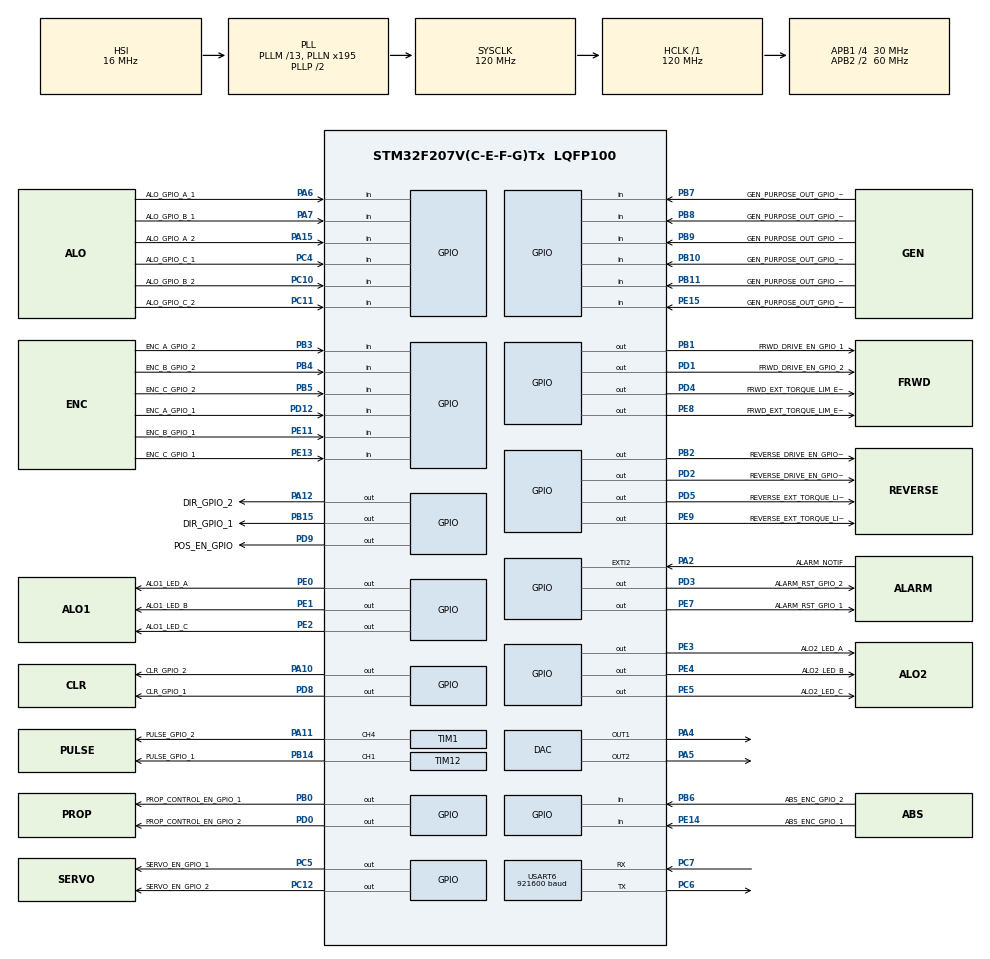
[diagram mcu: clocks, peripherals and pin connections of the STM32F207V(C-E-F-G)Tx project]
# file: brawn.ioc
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Mcu.Family=STM32F2
Mcu.Name=STM32F207V(C-E-F-G)Tx
Mcu.Package=LQFP100
NVIC.EXTI2_IRQn=true\:0\:0\:false\:false\:true\:true\:true\:true
NVIC.PriorityGroup=NVIC_PRIORITYGROUP_4
NVIC.USART6_IRQn=true\:0\:0\:false\:false\:true\:true\:true\:true
PA10.GPIO_Label=CLR_GPIO_2
PA10.Signal=GPIO_Output
PA11.GPIO_Label=PULSE_GPIO_2
PA11.Signal=S_TIM1_CH4
PA12.GPIO_Label=DIR_GPIO_2
PA12.Signal=GPIO_Output
PA13.Mode=Serial_Wire
PA13.Signal=SYS_JTMS-SWDIO
PA14.Mode=Serial_Wire
PA14.Signal=SYS_JTCK-SWCLK
PA15.GPIO_Label=ALO_GPIO_A_2
PA15.Signal=GPIO_Input
PA2.GPIO_Label=ALARM_NOTIF
PA2.Signal=GPXTI2
PA4.Signal=COMP_DAC1_group
PA5.Signal=COMP_DAC2_group
PA6.GPIO_Label=ALO_GPIO_A_1
PA6.Signal=GPIO_Input
PA7.GPIO_Label=ALO_GPIO_B_1
PA7.Signal=GPIO_Input
PB0.GPIO_Label=PROP_CONTROL_EN_GPIO_1
PB0.Signal=GPIO_Output
PB1.GPIO_Label=FRWD_DRIVE_EN_GPIO_1
PB1.Signal=GPIO_Output
PB10.GPIO_Label=GEN_PURPOSE_OUT_GPIO_B_1
PB10.Signal=GPIO_Input
PB11.GPIO_Label=GEN_PURPOSE_OUT_GPIO_C_1
PB11.Signal=GPIO_Input
PB14.GPIO_Label=PULSE_GPIO_1
PB14.Signal=S_TIM12_CH1
PB15.GPIO_Label=DIR_GPIO_1
PB15.Signal=GPIO_Output
PB2.GPIO_Label=REVERSE_DRIVE_EN_GPIO_1
PB2.Signal=GPIO_Output
PB3.GPIO_Label=ENC_A_GPIO_2
PB3.Signal=GPIO_Input
PB4.GPIO_Label=ENC_B_GPIO_2
PB4.Signal=GPIO_Input
PB5.GPIO_Label=ENC_C_GPIO_2
PB5.Signal=GPIO_Input
PB6.GPIO_Label=ABS_ENC_GPIO_2
PB6.Signal=GPIO_Input
PB7.GPIO_Label=GEN_PURPOSE_OUT_GPIO_A_2
PB7.Signal=GPIO_Input
PB8.GPIO_Label=GEN_PURPOSE_OUT_GPIO_B_2
PB8.Signal=GPIO_Input
PB9.GPIO_Label=GEN_PURPOSE_OUT_GPIO_C_2
PB9.Signal=GPIO_Input
PC10.GPIO_Label=ALO_GPIO_B_2
PC10.Signal=GPIO_Input
PC11.GPIO_Label=ALO_GPIO_C_2
PC11.Signal=GPIO_Input
PC12.GPIO_Label=SERVO_EN_GPIO_2
PC12.Signal=GPIO_Output
PC4.GPIO_Label=ALO_GPIO_C_1
PC4.Signal=GPIO_Input
PC5.GPIO_Label=SERVO_EN_GPIO_1
PC5.Signal=GPIO_Output
PC6.Mode=Asynchronous
PC6.Signal=USART6_TX
PC7.Mode=Asynchronous
PC7.Signal=USART6_RX
PD0.GPIO_Label=PROP_CONTROL_EN_GPIO_2
PD0.Signal=GPIO_Output
PD1.GPIO_Label=FRWD_DRIVE_EN_GPIO_2
PD1.Signal=GPIO_Output
PD12.GPIO_Label=ENC_A_GPIO_1
PD12.Signal=GPIO_Input
PD2.GPIO_Label=REVERSE_DRIVE_EN_GPIO_2
PD2.Signal=GPIO_Output
PD3.GPIO_Label=ALARM_RST_GPIO_2
PD3.Signal=GPIO_Output
PD4.GPIO_Label=FRWD_EXT_TORQUE_LIM_EN_GPIO_2
PD4.Signal=GPIO_Output
PD5.GPIO_Label=REVERSE_EXT_TORQUE_LIM_EN_GPIO_2
PD5.Signal=GPIO_Output
PD8.GPIO_Label=CLR_GPIO_1
PD8.Signal=GPIO_Output
PD9.GPIO_Label=POS_EN_GPIO
PD9.PinState=GPIO_PIN_SET
PD9.Signal=GPIO_Output
PE0.GPIO_Label=ALO1_LED_A
PE0.Signal=GPIO_Output
PE1.GPIO_Label=ALO1_LED_B
PE1.Signal=GPIO_Output
PE11.GPIO_Label=ENC_B_GPIO_1
PE11.Signal=GPIO_Input
PE13.GPIO_Label=ENC_C_GPIO_1
PE13.Signal=GPIO_Input
PE14.GPIO_Label=ABS_ENC_GPIO_1
PE14.Signal=GPIO_Input
PE15.GPIO_Label=GEN_PURPOSE_OUT_GPIO_A_1
PE15.Signal=GPIO_Input
PE2.GPIO_Label=ALO1_LED_C
PE2.Signal=GPIO_Output
PE3.GPIO_Label=ALO2_LED_A
PE3.Signal=GPIO_Output
PE4.GPIO_Label=ALO2_LED_B
PE4.Signal=GPIO_Output
PE5.GPIO_Label=ALO2_LED_C
PE5.Signal=GPIO_Output
PE7.GPIO_Label=ALARM_RST_GPIO_1
PE7.Signal=GPIO_Output
PE8.GPIO_Label=FRWD_EXT_TORQUE_LIM_EN_GPIO_1
PE8.Signal=GPIO_Output
PE9.GPIO_Label=REVERSE_EXT_TORQUE_LIM_EN_GPIO_1
PE9.Signal=GPIO_Output
PH0-OSC_IN.Mode=HSE-External-Oscillator
PH0-OSC_IN.Signal=RCC_OSC_IN
PH1-OSC_OUT.Mode=HSE-External-Oscillator
PH1-OSC_OUT.Signal=RCC_OSC_OUT
ProjectManager.HeapSize=0x200
ProjectManager.StackSize=0x400
ProjectManager.TargetToolchain=STM32CubeIDE
RCC.48MHZClocksFreq_Value=60000000
RCC.AHBFreq_Value=120000000
RCC.APB1CLKDivider=RCC_HCLK_DIV4
RCC.APB1Freq_Value=30000000
RCC.APB1TimFreq_Value=60000000
RCC.APB2CLKDivider=RCC_HCLK_DIV2
RCC.APB2Freq_Value=60000000
RCC.APB2TimFreq_Value=120000000
RCC.CortexFreq_Value=120000000
RCC.HCLKFreq_Value=120000000
RCC.HSE_VALUE=25000000
RCC.HSI_VALUE=16000000
RCC.LSE_VALUE=32768
RCC.PLLM=13
RCC.PLLN=195
RCC.SYSCLKFreq_VALUE=120000000
RCC.SYSCLKSource=RCC_SYSCLKSOURCE_PLLCLK
RCC.VCOOutputFreq_Value=240000000
SH.COMP_DAC1_group.0=DAC_OUT1,DAC_OUT1
SH.COMP_DAC2_group.0=DAC_OUT2,DAC_OUT2
SH.S_TIM12_CH1.0=TIM12_CH1,PWM Generation1 CH1
SH.S_TIM1_CH4.0=TIM1_CH4,PWM Generation4 CH4
TIM1.AutoReloadPreload=TIM_AUTORELOAD_PRELOAD_DISABLE
TIM1.Channel-PWM\ Generation4\ CH4=TIM_CHANNEL_4
TIM1.OCMode_PWM-PWM\ Generation4\ CH4=TIM_OCMODE_PWM2
TIM1.Period=4
TIM1.Prescaler=0
TIM1.Pulse-PWM\ Generation4\ CH4=2
TIM12.AutoReloadPreload=TIM_AUTORELOAD_PRELOAD_DISABLE
TIM12.Channel-PWM\ Generation1\ CH1=TIM_CHANNEL_1
TIM12.OCMode_PWM-PWM\ Generation1\ CH1=TIM_OCMODE_PWM2
TIM12.Period=4
TIM12.Prescaler=0
TIM12.Pulse-PWM\ Generation1\ CH1=2
USART6.BaudRate=921600
USART6.VirtualMode=VM_ASYNC
VP_RTC_VS_RTC_Activate.Mode=RTC_Enabled
VP_TIM12_VS_ClockSourceINT.Mode=Internal
VP_TIM12_VS_OPM.Mode=OPM_bit
VP_TIM1_VS_ClockSourceINT.Mode=Internal
VP_TIM1_VS_OPM.Mode=OPM_bit
VP_TIM4_VS_ClockSourceINT.Mode=Internal
board=custom

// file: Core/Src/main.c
/* USER CODE BEGIN Header */
/**
  ******************************************************************************
  * @file           : main.c
  * @brief          : Main program body
  ******************************************************************************
  * @attention
  *
  * Copyright (c) 2024 STMicroelectronics.
  * All rights reserved.
  *
  * This software is licensed under terms that can be found in the LICENSE file
  * in the root directory of this software component.
  * If no LICENSE file comes with this software, it is provided AS-IS.
  *
  ******************************************************************************
  */
/* USER CODE END Header */
#include "main.h"

/* USER CODE BEGIN Includes */
#include "stdio.h"
#include "string.h"
#include <stdlib.h>

/* USER CODE END Includes */

/* USER CODE BEGIN PTD */
#define MAX_Q_LEN 100
typedef struct {
  int xPul, yPul;
} Position;

typedef struct {
  Position moves[MAX_Q_LEN];
  unsigned char start;
  unsigned char end;
  unsigned char count;
} MoveQueue;

typedef enum State {
  IDLE = 'I',
  IN_GAME = 'S',
  RE_CENTER = 'R',
  DISCONNECTED = 'D'
} State;
/* USER CODE END PTD */

/* USER CODE BEGIN PM */
#define MAX_TX_LEN 30
#define TIMEOUT 1000
/* USER CODE END PM */

DAC_HandleTypeDef hdac;

RTC_HandleTypeDef hrtc;

TIM_HandleTypeDef htim1;
TIM_HandleTypeDef htim4;
TIM_HandleTypeDef htim12;

UART_HandleTypeDef huart6;

/* USER CODE BEGIN PV */
unsigned char c;
volatile unsigned char buffer[MAX_TX_LEN];
volatile int i = 0, msgReady = 0;
unsigned char msg[MAX_TX_LEN];
MoveQueue movQ = {0};
State gameState = DISCONNECTED;
#if defined(SIM) || defined(TRACK)
Position curPos = {0};
#endif
/* USER CODE END PV */

void SystemClock_Config(void);
static void MX_GPIO_Init(void);
static void MX_RTC_Init(void);
static void MX_TIM1_Init(void);
static void MX_TIM12_Init(void);
static void MX_DAC_Init(void);
static void MX_USART6_UART_Init(void);
static void MX_TIM4_Init(void);
/* USER CODE BEGIN PFP */
static void transmit(const char *);
//static void resetMotors(void);
static void sendPos(void);
static void handleCommand(const char);
static void enqueueMove(Position *);
static void handlePos(unsigned char *);
static int motorsReady(void);
static Position dequeueMove(void);
static void send_pulses(Position move);
static void alarm_reset(void);
/* USER CODE END PFP */

int main(void)
{

  /* MCU Configuration--------------------------------------------------------*/

  /* Reset of all peripherals, Initializes the Flash interface and the Systick. */
  HAL_Init();

  /* Configure the system clock */
  SystemClock_Config();

  /* Initialize all configured peripherals */
  MX_GPIO_Init();
  MX_RTC_Init();
  MX_TIM1_Init();
  MX_TIM12_Init();
  MX_DAC_Init();
  MX_USART6_UART_Init();
  MX_TIM4_Init();
  /* USER CODE BEGIN 2 */
  __HAL_UART_ENABLE_IT(&huart6, UART_IT_RXNE);
  HAL_UART_Receive_IT(&huart6, (unsigned char *)&c, 1);
  HAL_TIM_PWM_Start(&htim1, TIM_CHANNEL_4);
  HAL_TIM_PWM_Start(&htim12, TIM_CHANNEL_1);
  htim1.Instance->CNT = 0;
  htim12.Instance->CNT = 0;

  //Set the pin high to enable proportional control/action (make sure its set to zero for now)
  HAL_GPIO_WritePin(PROP_CONTROL_EN_GPIO_1_GPIO_Port, PROP_CONTROL_EN_GPIO_1_Pin, GPIO_PIN_RESET);
  HAL_GPIO_WritePin(PROP_CONTROL_EN_GPIO_2_GPIO_Port, PROP_CONTROL_EN_GPIO_2_Pin, GPIO_PIN_RESET);

  //Set the pin high to enable to enable forward direction movement
  HAL_GPIO_WritePin(FRWD_DRIVE_EN_GPIO_1_GPIO_Port, FRWD_DRIVE_EN_GPIO_1_Pin, GPIO_PIN_SET);
  HAL_GPIO_WritePin(FRWD_DRIVE_EN_GPIO_2_GPIO_Port, FRWD_DRIVE_EN_GPIO_2_Pin, GPIO_PIN_SET);
  //Set the pin high to enable to enable reverse direction movement
  HAL_GPIO_WritePin(REVERSE_DRIVE_EN_GPIO_1_GPIO_Port, REVERSE_DRIVE_EN_GPIO_1_Pin, GPIO_PIN_SET);
  HAL_GPIO_WritePin(REVERSE_DRIVE_EN_GPIO_2_GPIO_Port, REVERSE_DRIVE_EN_GPIO_2_Pin, GPIO_PIN_SET);

  //Enable high to limit the torque in the forward direction (set to zero for now)
  HAL_GPIO_WritePin(FRWD_EXT_TORQUE_LIM_EN_GPIO_1_GPIO_Port, FRWD_EXT_TORQUE_LIM_EN_GPIO_1_Pin, GPIO_PIN_RESET);
  HAL_GPIO_WritePin(FRWD_EXT_TORQUE_LIM_EN_GPIO_2_GPIO_Port, FRWD_EXT_TORQUE_LIM_EN_GPIO_2_Pin, GPIO_PIN_RESET);
  //Enable high to limit the torque in the reverse direction (set to zero for now)
  HAL_GPIO_WritePin(REVERSE_EXT_TORQUE_LIM_EN_GPIO_1_GPIO_Port, REVERSE_EXT_TORQUE_LIM_EN_GPIO_1_Pin, GPIO_PIN_RESET);
  HAL_GPIO_WritePin(REVERSE_EXT_TORQUE_LIM_EN_GPIO_2_GPIO_Port, REVERSE_EXT_TORQUE_LIM_EN_GPIO_2_Pin, GPIO_PIN_RESET);

  HAL_GPIO_WritePin(SERVO_EN_GPIO_1_GPIO_Port, SERVO_EN_GPIO_1_Pin, GPIO_PIN_RESET);
  HAL_GPIO_WritePin(SERVO_EN_GPIO_2_GPIO_Port, SERVO_EN_GPIO_2_Pin, GPIO_PIN_RESET);
//  HAL_GPIO_WritePin(SERVO_EN_GPIO_1_GPIO_Port, SERVO_EN_GPIO_1_Pin, GPIO_PIN_SET);
//  HAL_GPIO_WritePin(SERVO_EN_GPIO_2_GPIO_Port, SERVO_EN_GPIO_2_Pin, GPIO_PIN_SET);
//turns on motors
  /* USER CODE END 2 */

  /* Infinite loop */
  /* USER CODE BEGIN WHILE */
  int readyReported = 0;
  while (1)
  {
    /* USER CODE END WHILE */

    /* USER CODE BEGIN 3 */
    if (msgReady) {
#ifdef ECHO
      transmit((const char *)msg);
#else
      switch (msg[0]) {
      case '!':
        handleCommand(msg[1]);
        break;
      case 'X':
        handlePos(msg + 1);
        break;
      default:
        transmit("A999\0");
        gameState = DISCONNECTED;
      }
#endif
      msgReady = 0;
    }
#ifndef TRACK
    if (gameState == IN_GAME) {
      if (movQ.count) {
        if (motorsReady()) {
          readyReported = 0;
          send_pulses(dequeueMove());
        }
      }
//      else if (readyReported == 0 && motorsReady()) {
//        transmit("A555\0");
//        readyReported = 1;
//      }
    }

#endif
  }
  /* USER CODE END 3 */
}

void SystemClock_Config(void)
{
  RCC_OscInitTypeDef RCC_OscInitStruct = {0};
  RCC_ClkInitTypeDef RCC_ClkInitStruct = {0};
  RCC_PeriphCLKInitTypeDef PeriphClkInitStruct = {0};

  /** Initializes the RCC Oscillators according to the specified parameters
  * in the RCC_OscInitTypeDef structure.
  */
  RCC_OscInitStruct.OscillatorType = RCC_OSCILLATORTYPE_HSI|RCC_OSCILLATORTYPE_LSI;
  RCC_OscInitStruct.HSIState = RCC_HSI_ON;
  RCC_OscInitStruct.HSICalibrationValue = RCC_HSICALIBRATION_DEFAULT;
  RCC_OscInitStruct.LSIState = RCC_LSI_ON;
  RCC_OscInitStruct.PLL.PLLState = RCC_PLL_ON;
  RCC_OscInitStruct.PLL.PLLSource = RCC_PLLSOURCE_HSI;
  RCC_OscInitStruct.PLL.PLLM = 13;
  RCC_OscInitStruct.PLL.PLLN = 195;
  RCC_OscInitStruct.PLL.PLLP = RCC_PLLP_DIV2;
  RCC_OscInitStruct.PLL.PLLQ = 4;
  if (HAL_RCC_OscConfig(&RCC_OscInitStruct) != HAL_OK)
  {
    Error_Handler();
  }

  /** Initializes the CPU, AHB and APB buses clocks
  */
  RCC_ClkInitStruct.ClockType = RCC_CLOCKTYPE_HCLK|RCC_CLOCKTYPE_SYSCLK
                              |RCC_CLOCKTYPE_PCLK1|RCC_CLOCKTYPE_PCLK2;
  RCC_ClkInitStruct.SYSCLKSource = RCC_SYSCLKSOURCE_PLLCLK;
  RCC_ClkInitStruct.AHBCLKDivider = RCC_SYSCLK_DIV1;
  RCC_ClkInitStruct.APB1CLKDivider = RCC_HCLK_DIV4;
  RCC_ClkInitStruct.APB2CLKDivider = RCC_HCLK_DIV2;

  if (HAL_RCC_ClockConfig(&RCC_ClkInitStruct, FLASH_LATENCY_3) != HAL_OK)
  {
    Error_Handler();
  }
  PeriphClkInitStruct.PeriphClockSelection = RCC_PERIPHCLK_RTC;
  PeriphClkInitStruct.RTCClockSelection = RCC_RTCCLKSOURCE_LSI;
  if (HAL_RCCEx_PeriphCLKConfig(&PeriphClkInitStruct) != HAL_OK)
  {
    Error_Handler();
  }
}

static void MX_DAC_Init(void)
{

  DAC_ChannelConfTypeDef sConfig = {0};

  /** DAC Initialization
  */
  hdac.Instance = DAC;
  if (HAL_DAC_Init(&hdac) != HAL_OK)
  {
    Error_Handler();
  }

  /** DAC channel OUT1 config
  */
  sConfig.DAC_Trigger = DAC_TRIGGER_NONE;
  sConfig.DAC_OutputBuffer = DAC_OUTPUTBUFFER_ENABLE;
  if (HAL_DAC_ConfigChannel(&hdac, &sConfig, DAC_CHANNEL_1) != HAL_OK)
  {
    Error_Handler();
  }

  /** DAC channel OUT2 config
  */
  if (HAL_DAC_ConfigChannel(&hdac, &sConfig, DAC_CHANNEL_2) != HAL_OK)
  {
    Error_Handler();
  }

}

static void MX_RTC_Init(void)
{

  /** Initialize RTC Only
  */
  hrtc.Instance = RTC;
  hrtc.Init.HourFormat = RTC_HOURFORMAT_24;
  hrtc.Init.AsynchPrediv = 127;
  hrtc.Init.SynchPrediv = 255;
  hrtc.Init.OutPut = RTC_OUTPUT_DISABLE;
  hrtc.Init.OutPutPolarity = RTC_OUTPUT_POLARITY_HIGH;
  hrtc.Init.OutPutType = RTC_OUTPUT_TYPE_OPENDRAIN;
  if (HAL_RTC_Init(&hrtc) != HAL_OK)
  {
    Error_Handler();
  }

}

static void MX_TIM1_Init(void)
{

  TIM_ClockConfigTypeDef sClockSourceConfig = {0};
  TIM_MasterConfigTypeDef sMasterConfig = {0};
  TIM_OC_InitTypeDef sConfigOC = {0};
  TIM_BreakDeadTimeConfigTypeDef sBreakDeadTimeConfig = {0};

  htim1.Instance = TIM1;
  htim1.Init.Prescaler = 0;
  htim1.Init.CounterMode = TIM_COUNTERMODE_UP;
  htim1.Init.Period = 4;
  htim1.Init.ClockDivision = TIM_CLOCKDIVISION_DIV1;
  htim1.Init.RepetitionCounter = 0;
  htim1.Init.AutoReloadPreload = TIM_AUTORELOAD_PRELOAD_DISABLE;
  if (HAL_TIM_Base_Init(&htim1) != HAL_OK)
  {
    Error_Handler();
  }
  sClockSourceConfig.ClockSource = TIM_CLOCKSOURCE_INTERNAL;
  if (HAL_TIM_ConfigClockSource(&htim1, &sClockSourceConfig) != HAL_OK)
  {
    Error_Handler();
  }
  if (HAL_TIM_PWM_Init(&htim1) != HAL_OK)
  {
    Error_Handler();
  }
  if (HAL_TIM_OnePulse_Init(&htim1, TIM_OPMODE_SINGLE) != HAL_OK)
  {
    Error_Handler();
  }
  sMasterConfig.MasterOutputTrigger = TIM_TRGO_RESET;
  sMasterConfig.MasterSlaveMode = TIM_MASTERSLAVEMODE_DISABLE;
  if (HAL_TIMEx_MasterConfigSynchronization(&htim1, &sMasterConfig) != HAL_OK)
  {
    Error_Handler();
  }
  sConfigOC.OCMode = TIM_OCMODE_PWM2;
  sConfigOC.Pulse = 2;
  sConfigOC.OCPolarity = TIM_OCPOLARITY_HIGH;
  sConfigOC.OCFastMode = TIM_OCFAST_DISABLE;
  sConfigOC.OCIdleState = TIM_OCIDLESTATE_RESET;
  sConfigOC.OCNIdleState = TIM_OCNIDLESTATE_RESET;
  if (HAL_TIM_PWM_ConfigChannel(&htim1, &sConfigOC, TIM_CHANNEL_4) != HAL_OK)
  {
    Error_Handler();
  }
  sBreakDeadTimeConfig.OffStateRunMode = TIM_OSSR_DISABLE;
  sBreakDeadTimeConfig.OffStateIDLEMode = TIM_OSSI_DISABLE;
  sBreakDeadTimeConfig.LockLevel = TIM_LOCKLEVEL_OFF;
  sBreakDeadTimeConfig.DeadTime = 0;
  sBreakDeadTimeConfig.BreakState = TIM_BREAK_DISABLE;
  sBreakDeadTimeConfig.BreakPolarity = TIM_BREAKPOLARITY_HIGH;
  sBreakDeadTimeConfig.AutomaticOutput = TIM_AUTOMATICOUTPUT_DISABLE;
  if (HAL_TIMEx_ConfigBreakDeadTime(&htim1, &sBreakDeadTimeConfig) != HAL_OK)
  {
    Error_Handler();
  }
  HAL_TIM_MspPostInit(&htim1);

}

static void MX_TIM4_Init(void)
{

  TIM_ClockConfigTypeDef sClockSourceConfig = {0};
  TIM_MasterConfigTypeDef sMasterConfig = {0};

  htim4.Instance = TIM4;
  htim4.Init.Prescaler = 0;
  htim4.Init.CounterMode = TIM_COUNTERMODE_UP;
  htim4.Init.Period = 65535;
  htim4.Init.ClockDivision = TIM_CLOCKDIVISION_DIV1;
  htim4.Init.AutoReloadPreload = TIM_AUTORELOAD_PRELOAD_DISABLE;
  if (HAL_TIM_Base_Init(&htim4) != HAL_OK)
  {
    Error_Handler();
  }
  sClockSourceConfig.ClockSource = TIM_CLOCKSOURCE_INTERNAL;
  if (HAL_TIM_ConfigClockSource(&htim4, &sClockSourceConfig) != HAL_OK)
  {
    Error_Handler();
  }
  sMasterConfig.MasterOutputTrigger = TIM_TRGO_RESET;
  sMasterConfig.MasterSlaveMode = TIM_MASTERSLAVEMODE_DISABLE;
  if (HAL_TIMEx_MasterConfigSynchronization(&htim4, &sMasterConfig) != HAL_OK)
  {
    Error_Handler();
  }

}

static void MX_TIM12_Init(void)
{

  TIM_ClockConfigTypeDef sClockSourceConfig = {0};
  TIM_OC_InitTypeDef sConfigOC = {0};

  htim12.Instance = TIM12;
  htim12.Init.Prescaler = 0;
  htim12.Init.CounterMode = TIM_COUNTERMODE_UP;
  htim12.Init.Period = 4;
  htim12.Init.ClockDivision = TIM_CLOCKDIVISION_DIV1;
  htim12.Init.AutoReloadPreload = TIM_AUTORELOAD_PRELOAD_DISABLE;
  if (HAL_TIM_Base_Init(&htim12) != HAL_OK)
  {
    Error_Handler();
  }
  sClockSourceConfig.ClockSource = TIM_CLOCKSOURCE_INTERNAL;
  if (HAL_TIM_ConfigClockSource(&htim12, &sClockSourceConfig) != HAL_OK)
  {
    Error_Handler();
  }
  if (HAL_TIM_PWM_Init(&htim12) != HAL_OK)
  {
    Error_Handler();
  }
  if (HAL_TIM_OnePulse_Init(&htim12, TIM_OPMODE_SINGLE) != HAL_OK)
  {
    Error_Handler();
  }
  sConfigOC.OCMode = TIM_OCMODE_PWM2;
  sConfigOC.Pulse = 2;
  sConfigOC.OCPolarity = TIM_OCPOLARITY_HIGH;
  sConfigOC.OCFastMode = TIM_OCFAST_DISABLE;
  if (HAL_TIM_PWM_ConfigChannel(&htim12, &sConfigOC, TIM_CHANNEL_1) != HAL_OK)
  {
    Error_Handler();
  }
  HAL_TIM_MspPostInit(&htim12);

}

static void MX_USART6_UART_Init(void)
{

  huart6.Instance = USART6;
  huart6.Init.BaudRate = 921600;
  huart6.Init.WordLength = UART_WORDLENGTH_8B;
  huart6.Init.StopBits = UART_STOPBITS_1;
  huart6.Init.Parity = UART_PARITY_NONE;
  huart6.Init.Mode = UART_MODE_TX_RX;
  huart6.Init.HwFlowCtl = UART_HWCONTROL_NONE;
  huart6.Init.OverSampling = UART_OVERSAMPLING_16;
  if (HAL_UART_Init(&huart6) != HAL_OK)
  {
    Error_Handler();
  }

}

static void MX_GPIO_Init(void)
{
  GPIO_InitTypeDef GPIO_InitStruct = {0};

  /* GPIO Ports Clock Enable */
  __HAL_RCC_GPIOE_CLK_ENABLE();
  __HAL_RCC_GPIOH_CLK_ENABLE();
  __HAL_RCC_GPIOA_CLK_ENABLE();
  __HAL_RCC_GPIOC_CLK_ENABLE();
  __HAL_RCC_GPIOB_CLK_ENABLE();
  __HAL_RCC_GPIOD_CLK_ENABLE();

  /*Configure GPIO pin Output Level */
  HAL_GPIO_WritePin(GPIOE, ALO1_LED_C_Pin|ALO2_LED_A_Pin|ALO2_LED_B_Pin|ALO2_LED_C_Pin
                          |ALARM_RST_GPIO_1_Pin|FRWD_EXT_TORQUE_LIM_EN_GPIO_1_Pin|REVERSE_EXT_TORQUE_LIM_EN_GPIO_1_Pin|ALO1_LED_A_Pin
                          |ALO1_LED_B_Pin, GPIO_PIN_RESET);

  /*Configure GPIO pin Output Level */
  HAL_GPIO_WritePin(GPIOC, SERVO_EN_GPIO_1_Pin|SERVO_EN_GPIO_2_Pin, GPIO_PIN_RESET);

  /*Configure GPIO pin Output Level */
  HAL_GPIO_WritePin(GPIOB, PROP_CONTROL_EN_GPIO_1_Pin|FRWD_DRIVE_EN_GPIO_1_Pin|REVERSE_DRIVE_EN_GPIO_1_Pin|DIR_GPIO_1_Pin, GPIO_PIN_RESET);

  /*Configure GPIO pin Output Level */
  HAL_GPIO_WritePin(GPIOD, CLR_GPIO_1_Pin|PROP_CONTROL_EN_GPIO_2_Pin|FRWD_DRIVE_EN_GPIO_2_Pin|REVERSE_DRIVE_EN_GPIO_2_Pin
                          |ALARM_RST_GPIO_2_Pin|FRWD_EXT_TORQUE_LIM_EN_GPIO_2_Pin|REVERSE_EXT_TORQUE_LIM_EN_GPIO_2_Pin, GPIO_PIN_RESET);

  /*Configure GPIO pin Output Level */
  HAL_GPIO_WritePin(POS_EN_GPIO_GPIO_Port, POS_EN_GPIO_Pin, GPIO_PIN_SET);

  /*Configure GPIO pin Output Level */
  HAL_GPIO_WritePin(GPIOA, CLR_GPIO_2_Pin|DIR_GPIO_2_Pin, GPIO_PIN_RESET);

  /*Configure GPIO pins : ALO1_LED_C_Pin ALO2_LED_A_Pin ALO2_LED_B_Pin ALO2_LED_C_Pin
                           ALARM_RST_GPIO_1_Pin FRWD_EXT_TORQUE_LIM_EN_GPIO_1_Pin REVERSE_EXT_TORQUE_LIM_EN_GPIO_1_Pin ALO1_LED_A_Pin
                           ALO1_LED_B_Pin */
  GPIO_InitStruct.Pin = ALO1_LED_C_Pin|ALO2_LED_A_Pin|ALO2_LED_B_Pin|ALO2_LED_C_Pin
                          |ALARM_RST_GPIO_1_Pin|FRWD_EXT_TORQUE_LIM_EN_GPIO_1_Pin|REVERSE_EXT_TORQUE_LIM_EN_GPIO_1_Pin|ALO1_LED_A_Pin
                          |ALO1_LED_B_Pin;
  GPIO_InitStruct.Mode = GPIO_MODE_OUTPUT_PP;
  GPIO_InitStruct.Pull = GPIO_NOPULL;
  GPIO_InitStruct.Speed = GPIO_SPEED_FREQ_LOW;
  HAL_GPIO_Init(GPIOE, &GPIO_InitStruct);

  /*Configure GPIO pin : ALARM_NOTIF_Pin */
  GPIO_InitStruct.Pin = ALARM_NOTIF_Pin;
  GPIO_InitStruct.Mode = GPIO_MODE_IT_RISING;
  GPIO_InitStruct.Pull = GPIO_NOPULL;
  HAL_GPIO_Init(ALARM_NOTIF_GPIO_Port, &GPIO_InitStruct);

  /*Configure GPIO pins : ALO_GPIO_A_1_Pin ALO_GPIO_B_1_Pin ALO_GPIO_A_2_Pin */
  GPIO_InitStruct.Pin = ALO_GPIO_A_1_Pin|ALO_GPIO_B_1_Pin|ALO_GPIO_A_2_Pin;
  GPIO_InitStruct.Mode = GPIO_MODE_INPUT;
  GPIO_InitStruct.Pull = GPIO_NOPULL;
  HAL_GPIO_Init(GPIOA, &GPIO_InitStruct);

  /*Configure GPIO pins : ALO_GPIO_C_1_Pin ALO_GPIO_B_2_Pin ALO_GPIO_C_2_Pin */
  GPIO_InitStruct.Pin = ALO_GPIO_C_1_Pin|ALO_GPIO_B_2_Pin|ALO_GPIO_C_2_Pin;
  GPIO_InitStruct.Mode = GPIO_MODE_INPUT;
  GPIO_InitStruct.Pull = GPIO_NOPULL;
  HAL_GPIO_Init(GPIOC, &GPIO_InitStruct);

  /*Configure GPIO pins : SERVO_EN_GPIO_1_Pin SERVO_EN_GPIO_2_Pin */
  GPIO_InitStruct.Pin = SERVO_EN_GPIO_1_Pin|SERVO_EN_GPIO_2_Pin;
  GPIO_InitStruct.Mode = GPIO_MODE_OUTPUT_PP;
  GPIO_InitStruct.Pull = GPIO_NOPULL;
  GPIO_InitStruct.Speed = GPIO_SPEED_FREQ_LOW;
  HAL_GPIO_Init(GPIOC, &GPIO_InitStruct);

  /*Configure GPIO pins : PROP_CONTROL_EN_GPIO_1_Pin FRWD_DRIVE_EN_GPIO_1_Pin REVERSE_DRIVE_EN_GPIO_1_Pin DIR_GPIO_1_Pin */
  GPIO_InitStruct.Pin = PROP_CONTROL_EN_GPIO_1_Pin|FRWD_DRIVE_EN_GPIO_1_Pin|REVERSE_DRIVE_EN_GPIO_1_Pin|DIR_GPIO_1_Pin;
  GPIO_InitStruct.Mode = GPIO_MODE_OUTPUT_PP;
  GPIO_InitStruct.Pull = GPIO_NOPULL;
  GPIO_InitStruct.Speed = GPIO_SPEED_FREQ_LOW;
  HAL_GPIO_Init(GPIOB, &GPIO_InitStruct);

  /*Configure GPIO pins : ENC_B_GPIO_1_Pin ENC_C_GPIO_1_Pin ABS_ENC_GPIO_1_Pin GEN_PURPOSE_OUT_GPIO_A_1_Pin */
  GPIO_InitStruct.Pin = ENC_B_GPIO_1_Pin|ENC_C_GPIO_1_Pin|ABS_ENC_GPIO_1_Pin|GEN_PURPOSE_OUT_GPIO_A_1_Pin;
  GPIO_InitStruct.Mode = GPIO_MODE_INPUT;
  GPIO_InitStruct.Pull = GPIO_NOPULL;
  HAL_GPIO_Init(GPIOE, &GPIO_InitStruct);

  /*Configure GPIO pins : GEN_PURPOSE_OUT_GPIO_B_1_Pin GEN_PURPOSE_OUT_GPIO_C_1_Pin ENC_A_GPIO_2_Pin ENC_B_GPIO_2_Pin
                           ENC_C_GPIO_2_Pin ABS_ENC_GPIO_2_Pin GEN_PURPOSE_OUT_GPIO_A_2_Pin GEN_PURPOSE_OUT_GPIO_B_2_Pin
                           GEN_PURPOSE_OUT_GPIO_C_2_Pin */
  GPIO_InitStruct.Pin = GEN_PURPOSE_OUT_GPIO_B_1_Pin|GEN_PURPOSE_OUT_GPIO_C_1_Pin|ENC_A_GPIO_2_Pin|ENC_B_GPIO_2_Pin
                          |ENC_C_GPIO_2_Pin|ABS_ENC_GPIO_2_Pin|GEN_PURPOSE_OUT_GPIO_A_2_Pin|GEN_PURPOSE_OUT_GPIO_B_2_Pin
                          |GEN_PURPOSE_OUT_GPIO_C_2_Pin;
  GPIO_InitStruct.Mode = GPIO_MODE_INPUT;
  GPIO_InitStruct.Pull = GPIO_NOPULL;
  HAL_GPIO_Init(GPIOB, &GPIO_InitStruct);

  /*Configure GPIO pins : CLR_GPIO_1_Pin POS_EN_GPIO_Pin PROP_CONTROL_EN_GPIO_2_Pin FRWD_DRIVE_EN_GPIO_2_Pin
                           REVERSE_DRIVE_EN_GPIO_2_Pin ALARM_RST_GPIO_2_Pin FRWD_EXT_TORQUE_LIM_EN_GPIO_2_Pin REVERSE_EXT_TORQUE_LIM_EN_GPIO_2_Pin */
  GPIO_InitStruct.Pin = CLR_GPIO_1_Pin|POS_EN_GPIO_Pin|PROP_CONTROL_EN_GPIO_2_Pin|FRWD_DRIVE_EN_GPIO_2_Pin
                          |REVERSE_DRIVE_EN_GPIO_2_Pin|ALARM_RST_GPIO_2_Pin|FRWD_EXT_TORQUE_LIM_EN_GPIO_2_Pin|REVERSE_EXT_TORQUE_LIM_EN_GPIO_2_Pin;
  GPIO_InitStruct.Mode = GPIO_MODE_OUTPUT_PP;
  GPIO_InitStruct.Pull = GPIO_NOPULL;
  GPIO_InitStruct.Speed = GPIO_SPEED_FREQ_LOW;
  HAL_GPIO_Init(GPIOD, &GPIO_InitStruct);

  /*Configure GPIO pin : ENC_A_GPIO_1_Pin */
  GPIO_InitStruct.Pin = ENC_A_GPIO_1_Pin;
  GPIO_InitStruct.Mode = GPIO_MODE_INPUT;
  GPIO_InitStruct.Pull = GPIO_NOPULL;
  HAL_GPIO_Init(ENC_A_GPIO_1_GPIO_Port, &GPIO_InitStruct);

  /*Configure GPIO pins : CLR_GPIO_2_Pin DIR_GPIO_2_Pin */
  GPIO_InitStruct.Pin = CLR_GPIO_2_Pin|DIR_GPIO_2_Pin;
  GPIO_InitStruct.Mode = GPIO_MODE_OUTPUT_PP;
  GPIO_InitStruct.Pull = GPIO_NOPULL;
  GPIO_InitStruct.Speed = GPIO_SPEED_FREQ_LOW;
  HAL_GPIO_Init(GPIOA, &GPIO_InitStruct);

  /* EXTI interrupt init*/
  HAL_NVIC_SetPriority(EXTI2_IRQn, 0, 0);
  HAL_NVIC_EnableIRQ(EXTI2_IRQn);

}

/* USER CODE BEGIN 4 */

void HAL_GPIO_EXTI_Callback(uint16_t GPIO_Pin)
{
  /* Prevent unused argument(s) compilation warning */
  switch (GPIO_Pin) {
  case ALARM_NOTIF_Pin:
    HAL_GPIO_WritePin(GPIOA, ALO1_LED_A_Pin, HAL_GPIO_ReadPin(ALO_GPIO_A_1_GPIO_Port, ALO_GPIO_A_1_Pin));
    HAL_GPIO_WritePin(GPIOA, ALO2_LED_A_Pin, HAL_GPIO_ReadPin(ALO_GPIO_A_2_GPIO_Port, ALO_GPIO_A_2_Pin));
    HAL_GPIO_WritePin(GPIOB, ALO1_LED_B_Pin, HAL_GPIO_ReadPin(ALO_GPIO_B_1_GPIO_Port, ALO_GPIO_B_1_Pin));
    HAL_GPIO_WritePin(GPIOB, ALO2_LED_B_Pin, HAL_GPIO_ReadPin(ALO_GPIO_B_2_GPIO_Port, ALO_GPIO_B_2_Pin));
    HAL_GPIO_WritePin(GPIOC, ALO1_LED_C_Pin, HAL_GPIO_ReadPin(ALO_GPIO_C_1_GPIO_Port, ALO_GPIO_C_1_Pin));
    HAL_GPIO_WritePin(GPIOC, ALO2_LED_C_Pin, HAL_GPIO_ReadPin(ALO_GPIO_C_2_GPIO_Port, ALO_GPIO_C_2_Pin));
    alarm_reset();
  }
//  HAL_GPIO_ReadPin
}

void transmit(const char *m) {
  char s[MAX_TX_LEN];
  snprintf(s, sizeof(s), "%s#%s;\n", m, m);
  HAL_UART_Transmit(&huart6, (unsigned char *)s, strlen(s), HAL_MAX_DELAY);
}

//void resetMotors() { return; }

void handleCommand(const char code) {
  switch (code) {
  case 'R':
    gameState = RE_CENTER;
    transmit("!R\0");
    break;
  case 'I':
//    if (gameState == RE_CENTER || gameState == IN_GAME)
//      resetMotors();
    gameState = IDLE;
    //turns motors on
    HAL_GPIO_WritePin(SERVO_EN_GPIO_1_GPIO_Port, SERVO_EN_GPIO_1_Pin, GPIO_PIN_RESET);
    HAL_GPIO_WritePin(SERVO_EN_GPIO_2_GPIO_Port, SERVO_EN_GPIO_2_Pin, GPIO_PIN_RESET);
    transmit("!I\0");
    break;
  case 'D':
    gameState = DISCONNECTED;
    transmit("!D\0");
    HAL_GPIO_WritePin(SERVO_EN_GPIO_1_GPIO_Port, SERVO_EN_GPIO_1_Pin, GPIO_PIN_RESET);
    HAL_GPIO_WritePin(SERVO_EN_GPIO_2_GPIO_Port, SERVO_EN_GPIO_2_Pin, GPIO_PIN_RESET);
    break;
  case 'S':
    if (gameState != IDLE){
      HAL_GPIO_WritePin(SERVO_EN_GPIO_1_GPIO_Port, SERVO_EN_GPIO_1_Pin, GPIO_PIN_RESET);
      HAL_GPIO_WritePin(SERVO_EN_GPIO_2_GPIO_Port, SERVO_EN_GPIO_2_Pin, GPIO_PIN_RESET);
      transmit("A988\0");
    }
    else {
      gameState = IN_GAME;
      transmit("!S\0");
      //turn on motors
      HAL_GPIO_WritePin(SERVO_EN_GPIO_1_GPIO_Port, SERVO_EN_GPIO_1_Pin, GPIO_PIN_SET);
      HAL_GPIO_WritePin(SERVO_EN_GPIO_2_GPIO_Port, SERVO_EN_GPIO_2_Pin, GPIO_PIN_SET);
    }
    break;
  case '?':
    sendPos();
    break;
  default:
    transmit("A989\0");
  }
}

void enqueueMove(Position *m) {
  if (movQ.count++ == MAX_Q_LEN)
    transmit("A979\0");
  Position *end = &movQ.moves[movQ.end++];
  movQ.end %= MAX_Q_LEN;
  end->xPul = m->xPul;
  end->yPul = m->yPul;
}

void sendPos() {
#ifdef SIM
  char message[MAX_TX_LEN] = {0};
  sprintf(message, "X%d,%d", curPos.xPul, curPos.yPul);
  transmit(message);
#endif
}

void handlePos(unsigned char *data) {
  Position m;
  sscanf((char *)data, "%d,%d", &m.xPul, &m.yPul);
#ifdef TRACK
  curPos.xPul += m.xPul;
  curPos.yPul += m.yPul;
  sendPos();
#else
  enqueueMove(&m);
#endif
}

int motorsReady(void) {
#ifdef SIM
  return 1;
#else
//  return 1;
    return !HAL_GPIO_ReadPin(GPIOB, GEN_PURPOSE_OUT_GPIO_B_1_Pin) &&
        HAL_GPIO_ReadPin(GPIOA, GEN_PURPOSE_OUT_GPIO_A_1_Pin) && HAL_GPIO_ReadPin(GPIOA, GEN_PURPOSE_OUT_GPIO_A_2_Pin);
    // && HAL_GPIO_ReadPin(GPIOB, GEN_PURPOSE_OUT_GPIO_B_2_Pin);
#endif
}

Position dequeueMove() {
  if (!movQ.count--)
    transmit("A978\0");
  Position move = movQ.moves[movQ.start++];
  movQ.start %= MAX_Q_LEN;
  return move;
}

void send_pulses(Position move) {
#ifndef SIM
//  while (HAL_GPIO_ReadPin(GPIOC, GEN_PURPOSE_OUT_GPIO_C_1_Pin) || HAL_GPIO_ReadPin(GPIOC, GEN_PURPOSE_OUT_GPIO_C_2_Pin));
  HAL_GPIO_WritePin(GPIOB, GPIO_PIN_15, move.xPul < 0 ? GPIO_PIN_RESET : GPIO_PIN_SET);
  HAL_GPIO_WritePin(GPIOA, GPIO_PIN_12, move.yPul < 0 ? GPIO_PIN_RESET : GPIO_PIN_SET);
  uint16_t x_val = abs(move.xPul);
  uint16_t y_val = abs(move.yPul);
  int higher = x_val, lower = y_val;
  TIM_HandleTypeDef *higherTim = &htim12, *lowerTim = &htim1;

  if (lower > higher) {
    higher = y_val;
    lower = x_val;
    higherTim = &htim1;
    lowerTim = &htim12;
  }
  higher -= lower;
  while (lower--) {
    for (int i = 0; i < htim12.Instance->ARR; i++) {
      higherTim->Instance->CNT = i;
      lowerTim->Instance->CNT = i;
    }
  }
  lowerTim->Instance->CNT = 0;
  while (higher--) {
    for (int i = 0; i < htim12.Instance->ARR; i++) {
      higherTim->Instance->CNT = i;
    }
  }
  higherTim->Instance->CNT = 0;
  //function that waits for the motors to be ready and then sends a signbal when ready
  return;
#else
    curPos.xPul += move.xPul;
    curPos.yPul += move.yPul;
#endif
}

void HAL_UART_RxCpltCallback(UART_HandleTypeDef *huart) {
  switch (c) {
  case '#':
    msg[i] = buffer[i] = '\0';
    strcpy((char *)msg, (char *)buffer);
    i = 0;
    break;
  case ';':
    buffer[i] = '\0';
    i = 0;
    if (strcmp((char *)msg, (char *)buffer) || msgReady) {
      gameState = DISCONNECTED;
      msgReady = 0;
    }
    else
      msgReady = 1;
    break;
  default:
    buffer[i++] = c;
    if (i == MAX_TX_LEN)
      transmit("A969\0");
  }
}

void alarm_reset(void){
  //Enable high to reset the alarm codes on the motor, and then release.
  HAL_GPIO_WritePin(ALARM_RST_GPIO_1_GPIO_Port, ALARM_RST_GPIO_1_Pin, GPIO_PIN_SET);
  HAL_GPIO_WritePin(ALARM_RST_GPIO_2_GPIO_Port, ALARM_RST_GPIO_2_Pin, GPIO_PIN_SET);
  HAL_Delay(50);
  HAL_GPIO_WritePin(ALARM_RST_GPIO_1_GPIO_Port, ALARM_RST_GPIO_1_Pin, GPIO_PIN_RESET);
  HAL_GPIO_WritePin(ALARM_RST_GPIO_2_GPIO_Port, ALARM_RST_GPIO_2_Pin, GPIO_PIN_RESET);
}
/* USER CODE END 4 */

void Error_Handler(void)
{
  __disable_irq();
  while (1)
  {
  }
}
